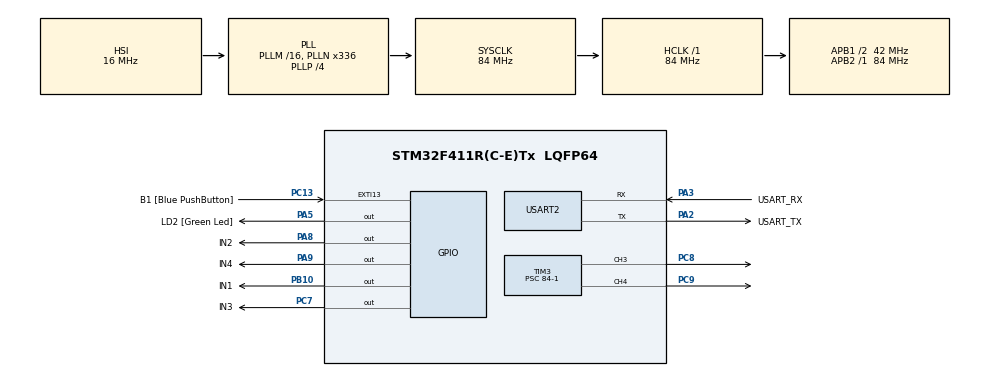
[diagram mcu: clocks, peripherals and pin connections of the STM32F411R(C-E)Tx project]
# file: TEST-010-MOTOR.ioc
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Mcu.Family=STM32F4
Mcu.Name=STM32F411R(C-E)Tx
Mcu.Package=LQFP64
NVIC.EXTI15_10_IRQn=true\:0\:0\:false\:false\:true\:true\:true\:true
NVIC.PriorityGroup=NVIC_PRIORITYGROUP_0
PA13.GPIO_Label=TMS
PA13.Mode=Serial_Wire
PA13.Signal=SYS_JTMS-SWDIO
PA14.GPIO_Label=TCK
PA14.Mode=Serial_Wire
PA14.Signal=SYS_JTCK-SWCLK
PA2.GPIO_Label=USART_TX
PA2.Mode=Asynchronous
PA2.Signal=USART2_TX
PA3.GPIO_Label=USART_RX
PA3.Mode=Asynchronous
PA3.Signal=USART2_RX
PA5.GPIO_Label=LD2 [Green Led]
PA5.Signal=GPIO_Output
PA8.GPIO_Label=IN2
PA8.Signal=GPIO_Output
PA9.GPIO_Label=IN4
PA9.Signal=GPIO_Output
PB10.GPIO_Label=IN1
PB10.Signal=GPIO_Output
PB3.GPIO_Label=SWO
PB3.Signal=SYS_JTDO-SWO
PC13-ANTI_TAMP.GPIO_Label=B1 [Blue PushButton]
PC13-ANTI_TAMP.GPIO_ModeDefaultEXTI=GPIO_MODE_IT_FALLING
PC13-ANTI_TAMP.Signal=GPXTI13
PC14-OSC32_IN.Mode=LSE-External-Oscillator
PC14-OSC32_IN.Signal=RCC_OSC32_IN
PC15-OSC32_OUT.Mode=LSE-External-Oscillator
PC15-OSC32_OUT.Signal=RCC_OSC32_OUT
PC7.GPIO_Label=IN3
PC7.Signal=GPIO_Output
PC8.Signal=S_TIM3_CH3
PC9.Signal=S_TIM3_CH4
PH0\ -\ OSC_IN.Mode=HSE-External-Clock-Source
PH0\ -\ OSC_IN.Signal=RCC_OSC_IN
PH1\ -\ OSC_OUT.Mode=HSE-External-Clock-Source
PH1\ -\ OSC_OUT.Signal=RCC_OSC_OUT
ProjectManager.HeapSize=0x200
ProjectManager.StackSize=0x400
ProjectManager.TargetToolchain=STM32CubeIDE
RCC.48MHZClocksFreq_Value=84000000
RCC.AHBFreq_Value=84000000
RCC.APB1CLKDivider=RCC_HCLK_DIV2
RCC.APB1Freq_Value=42000000
RCC.APB1TimFreq_Value=84000000
RCC.APB2Freq_Value=84000000
RCC.APB2TimFreq_Value=84000000
RCC.CortexFreq_Value=84000000
RCC.FLatency-AdvancedSettings=FLASH_LATENCY_2
RCC.HCLKFreq_Value=84000000
RCC.HSE_VALUE=8000000
RCC.HSI_VALUE=16000000
RCC.PLLN=336
RCC.PLLP=RCC_PLLP_DIV4
RCC.SYSCLKFreq_VALUE=84000000
RCC.SYSCLKSource=RCC_SYSCLKSOURCE_PLLCLK
RCC.VCOOutputFreq_Value=336000000
SH.S_TIM3_CH3.0=TIM3_CH3,PWM Generation3 CH3
SH.S_TIM3_CH4.0=TIM3_CH4,PWM Generation4 CH4
TIM3.Channel-PWM\ Generation3\ CH3=TIM_CHANNEL_3
TIM3.Channel-PWM\ Generation4\ CH4=TIM_CHANNEL_4
TIM3.Period=1000-1
TIM3.Prescaler=84-1
USART2.VirtualMode=VM_ASYNC
VP_TIM3_VS_ClockSourceINT.Mode=Internal
board=NUCLEO-F411RE

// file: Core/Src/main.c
/* USER CODE BEGIN Header */
/**
  ******************************************************************************
  * @file           : main.c
  * @brief          : Main program body
  ******************************************************************************
  * @attention
  *
  * Copyright (c) 2024 STMicroelectronics.
  * All rights reserved.
  *
  * This software is licensed under terms that can be found in the LICENSE file
  * in the root directory of this software component.
  * If no LICENSE file comes with this software, it is provided AS-IS.
  *
  ******************************************************************************
  */
/* USER CODE END Header */
#include "main.h"

TIM_HandleTypeDef htim3;

UART_HandleTypeDef huart2;

void SystemClock_Config(void);
static void MX_GPIO_Init(void);
static void MX_USART2_UART_Init(void);
static void MX_TIM3_Init(void);

/* USER CODE BEGIN 0 */
int dr = 0;
void HAL_GPIO_EXTI_Callback(uint16_t GPIO_Pin)
{
   if(GPIO_Pin == B1_Pin)
    {
       if(++dr > 3)dr = 0;
    }
}

void MODESet(int s)
{
   switch(s)
   {
   case 0:
      htim3.Instance->CCR3 = 270;
           htim3.Instance->CCR4 = 270;
           HAL_GPIO_WritePin(IN3_GPIO_Port, IN3_Pin, 1);
           HAL_GPIO_WritePin(IN4_GPIO_Port, IN4_Pin, 0);
           HAL_GPIO_WritePin(IN1_GPIO_Port, IN1_Pin, 1);
           HAL_GPIO_WritePin(IN2_GPIO_Port, IN2_Pin, 0);
           printf("\033[4;1Hgo \r\n");
           break;
   case 1:
      htim3.Instance->CCR3 = 270;
           htim3.Instance->CCR4 = 270;
           HAL_GPIO_WritePin(IN3_GPIO_Port, IN3_Pin, 0);
           HAL_GPIO_WritePin(IN4_GPIO_Port, IN4_Pin, 1);
           HAL_GPIO_WritePin(IN1_GPIO_Port, IN1_Pin, 0);
           HAL_GPIO_WritePin(IN2_GPIO_Port, IN2_Pin, 1);
           printf("\033[4;1Hback \r\n");
           break;
   case 2:
           htim3.Instance->CCR3 = 500;
           htim3.Instance->CCR4 = 270;
           HAL_GPIO_WritePin(IN3_GPIO_Port, IN3_Pin, 1);
           HAL_GPIO_WritePin(IN4_GPIO_Port, IN4_Pin, 0);
           HAL_GPIO_WritePin(IN1_GPIO_Port, IN1_Pin, 1);
           HAL_GPIO_WritePin(IN2_GPIO_Port, IN2_Pin, 0);
           printf("\033[4;1Hright \r\n");
           break;
   case 3:
           htim3.Instance->CCR3 = 270;
           htim3.Instance->CCR4 = 500;
           HAL_GPIO_WritePin(IN3_GPIO_Port, IN3_Pin, 1);
           HAL_GPIO_WritePin(IN4_GPIO_Port, IN4_Pin, 0);
           HAL_GPIO_WritePin(IN1_GPIO_Port, IN1_Pin, 1);
           HAL_GPIO_WritePin(IN2_GPIO_Port, IN2_Pin, 0);
           printf("\033[4;1Hleft \r\n");
           break;
   }

}
/* USER CODE END 0 */

int main(void)
{

  /* MCU Configuration--------------------------------------------------------*/

  /* Reset of all peripherals, Initializes the Flash interface and the Systick. */
  HAL_Init();

  /* Configure the system clock */
  SystemClock_Config();

  /* Initialize all configured peripherals */
  MX_GPIO_Init();
  MX_USART2_UART_Init();
  MX_TIM3_Init();
  /* USER CODE BEGIN 2 */
  ProgramStart("MOTOR");
  HAL_TIM_PWM_Start(&htim3, TIM_CHANNEL_3);
  HAL_TIM_PWM_Start(&htim3, TIM_CHANNEL_4);
  /* USER CODE END 2 */

  /* Infinite loop */
  while (1)
  {

  }
}

void SystemClock_Config(void)
{
  RCC_OscInitTypeDef RCC_OscInitStruct = {0};
  RCC_ClkInitTypeDef RCC_ClkInitStruct = {0};

  /** Configure the main internal regulator output voltage
  */
  __HAL_RCC_PWR_CLK_ENABLE();
  __HAL_PWR_VOLTAGESCALING_CONFIG(PWR_REGULATOR_VOLTAGE_SCALE1);

  /** Initializes the RCC Oscillators according to the specified parameters
  * in the RCC_OscInitTypeDef structure.
  */
  RCC_OscInitStruct.OscillatorType = RCC_OSCILLATORTYPE_HSI;
  RCC_OscInitStruct.HSIState = RCC_HSI_ON;
  RCC_OscInitStruct.HSICalibrationValue = RCC_HSICALIBRATION_DEFAULT;
  RCC_OscInitStruct.PLL.PLLState = RCC_PLL_ON;
  RCC_OscInitStruct.PLL.PLLSource = RCC_PLLSOURCE_HSI;
  RCC_OscInitStruct.PLL.PLLM = 16;
  RCC_OscInitStruct.PLL.PLLN = 336;
  RCC_OscInitStruct.PLL.PLLP = RCC_PLLP_DIV4;
  RCC_OscInitStruct.PLL.PLLQ = 4;
  if (HAL_RCC_OscConfig(&RCC_OscInitStruct) != HAL_OK)
  {
    Error_Handler();
  }

  /** Initializes the CPU, AHB and APB buses clocks
  */
  RCC_ClkInitStruct.ClockType = RCC_CLOCKTYPE_HCLK|RCC_CLOCKTYPE_SYSCLK
                              |RCC_CLOCKTYPE_PCLK1|RCC_CLOCKTYPE_PCLK2;
  RCC_ClkInitStruct.SYSCLKSource = RCC_SYSCLKSOURCE_PLLCLK;
  RCC_ClkInitStruct.AHBCLKDivider = RCC_SYSCLK_DIV1;
  RCC_ClkInitStruct.APB1CLKDivider = RCC_HCLK_DIV2;
  RCC_ClkInitStruct.APB2CLKDivider = RCC_HCLK_DIV1;

  if (HAL_RCC_ClockConfig(&RCC_ClkInitStruct, FLASH_LATENCY_2) != HAL_OK)
  {
    Error_Handler();
  }
}

static void MX_TIM3_Init(void)
{

  TIM_ClockConfigTypeDef sClockSourceConfig = {0};
  TIM_MasterConfigTypeDef sMasterConfig = {0};
  TIM_OC_InitTypeDef sConfigOC = {0};

  htim3.Instance = TIM3;
  htim3.Init.Prescaler = 84-1;
  htim3.Init.CounterMode = TIM_COUNTERMODE_UP;
  htim3.Init.Period = 1000-1;
  htim3.Init.ClockDivision = TIM_CLOCKDIVISION_DIV1;
  htim3.Init.AutoReloadPreload = TIM_AUTORELOAD_PRELOAD_DISABLE;
  if (HAL_TIM_Base_Init(&htim3) != HAL_OK)
  {
    Error_Handler();
  }
  sClockSourceConfig.ClockSource = TIM_CLOCKSOURCE_INTERNAL;
  if (HAL_TIM_ConfigClockSource(&htim3, &sClockSourceConfig) != HAL_OK)
  {
    Error_Handler();
  }
  if (HAL_TIM_PWM_Init(&htim3) != HAL_OK)
  {
    Error_Handler();
  }
  sMasterConfig.MasterOutputTrigger = TIM_TRGO_RESET;
  sMasterConfig.MasterSlaveMode = TIM_MASTERSLAVEMODE_DISABLE;
  if (HAL_TIMEx_MasterConfigSynchronization(&htim3, &sMasterConfig) != HAL_OK)
  {
    Error_Handler();
  }
  sConfigOC.OCMode = TIM_OCMODE_PWM1;
  sConfigOC.Pulse = 0;
  sConfigOC.OCPolarity = TIM_OCPOLARITY_HIGH;
  sConfigOC.OCFastMode = TIM_OCFAST_DISABLE;
  if (HAL_TIM_PWM_ConfigChannel(&htim3, &sConfigOC, TIM_CHANNEL_3) != HAL_OK)
  {
    Error_Handler();
  }
  if (HAL_TIM_PWM_ConfigChannel(&htim3, &sConfigOC, TIM_CHANNEL_4) != HAL_OK)
  {
    Error_Handler();
  }
  HAL_TIM_MspPostInit(&htim3);

}

static void MX_USART2_UART_Init(void)
{

  huart2.Instance = USART2;
  huart2.Init.BaudRate = 115200;
  huart2.Init.WordLength = UART_WORDLENGTH_8B;
  huart2.Init.StopBits = UART_STOPBITS_1;
  huart2.Init.Parity = UART_PARITY_NONE;
  huart2.Init.Mode = UART_MODE_TX_RX;
  huart2.Init.HwFlowCtl = UART_HWCONTROL_NONE;
  huart2.Init.OverSampling = UART_OVERSAMPLING_16;
  if (HAL_UART_Init(&huart2) != HAL_OK)
  {
    Error_Handler();
  }

}

static void MX_GPIO_Init(void)
{
  GPIO_InitTypeDef GPIO_InitStruct = {0};

  /* GPIO Ports Clock Enable */
  __HAL_RCC_GPIOC_CLK_ENABLE();
  __HAL_RCC_GPIOH_CLK_ENABLE();
  __HAL_RCC_GPIOA_CLK_ENABLE();
  __HAL_RCC_GPIOB_CLK_ENABLE();

  /*Configure GPIO pin Output Level */
  HAL_GPIO_WritePin(GPIOA, LD2_Pin|IN2_Pin|IN4_Pin, GPIO_PIN_RESET);

  /*Configure GPIO pin Output Level */
  HAL_GPIO_WritePin(IN1_GPIO_Port, IN1_Pin, GPIO_PIN_RESET);

  /*Configure GPIO pin Output Level */
  HAL_GPIO_WritePin(IN3_GPIO_Port, IN3_Pin, GPIO_PIN_RESET);

  /*Configure GPIO pin : B1_Pin */
  GPIO_InitStruct.Pin = B1_Pin;
  GPIO_InitStruct.Mode = GPIO_MODE_IT_FALLING;
  GPIO_InitStruct.Pull = GPIO_NOPULL;
  HAL_GPIO_Init(B1_GPIO_Port, &GPIO_InitStruct);

  /*Configure GPIO pins : LD2_Pin IN2_Pin IN4_Pin */
  GPIO_InitStruct.Pin = LD2_Pin|IN2_Pin|IN4_Pin;
  GPIO_InitStruct.Mode = GPIO_MODE_OUTPUT_PP;
  GPIO_InitStruct.Pull = GPIO_NOPULL;
  GPIO_InitStruct.Speed = GPIO_SPEED_FREQ_LOW;
  HAL_GPIO_Init(GPIOA, &GPIO_InitStruct);

  /*Configure GPIO pin : IN1_Pin */
  GPIO_InitStruct.Pin = IN1_Pin;
  GPIO_InitStruct.Mode = GPIO_MODE_OUTPUT_PP;
  GPIO_InitStruct.Pull = GPIO_NOPULL;
  GPIO_InitStruct.Speed = GPIO_SPEED_FREQ_LOW;
  HAL_GPIO_Init(IN1_GPIO_Port, &GPIO_InitStruct);

  /*Configure GPIO pin : IN3_Pin */
  GPIO_InitStruct.Pin = IN3_Pin;
  GPIO_InitStruct.Mode = GPIO_MODE_OUTPUT_PP;
  GPIO_InitStruct.Pull = GPIO_NOPULL;
  GPIO_InitStruct.Speed = GPIO_SPEED_FREQ_LOW;
  HAL_GPIO_Init(IN3_GPIO_Port, &GPIO_InitStruct);

  /* EXTI interrupt init*/
  HAL_NVIC_SetPriority(EXTI15_10_IRQn, 0, 0);
  HAL_NVIC_EnableIRQ(EXTI15_10_IRQn);

}

void Error_Handler(void)
{
  __disable_irq();
  while (1)
  {
  }
}
